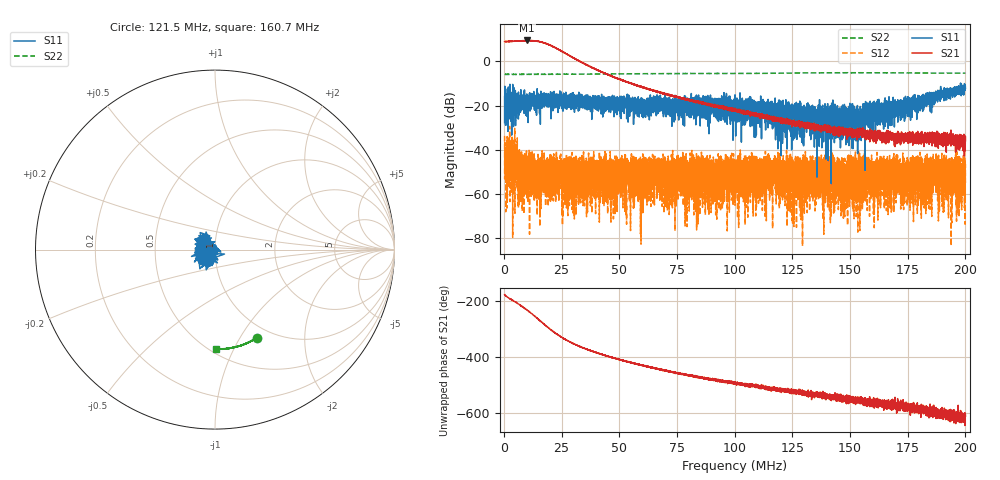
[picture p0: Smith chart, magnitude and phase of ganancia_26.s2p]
# Hz S DB R 50
! CMT, M5065, 19127446, 24.2.4/2
! Date: 11/8/2024 4:00:16 PM
! Data: Format (Calibration Info)
! Freq	S11:dB/Ang(F2)	S21:dB/Ang(F2)	S12:dB/Ang(F2)	S22:dB/Ang(F2)
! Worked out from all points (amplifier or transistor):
!   9000 points, 300 kHz to 200 MHz, reference 50 ohm
!   highest |S21| = 9.5 dB at 10.02 MHz (marker M1)
!   |S21| within 3 dB of that: start of sweep to 21.69 MHz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
!   unconditionally stable (mu >= 1): start of sweep to end of sweep
!   at 33.59 MHz: K = 103.39, MAG = 1.1 dB, |S12| = -48.8 dB
!   at 100.2 MHz: K = 8104.59, MAG = -20.5 dB, |S12| = -65.1 dB
!   at 200 MHz: K = 4335.37, MAG = -34.1 dB, |S12| = -46.4 dB
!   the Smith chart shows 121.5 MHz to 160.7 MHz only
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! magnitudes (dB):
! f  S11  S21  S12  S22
! 300 kHz  -27.7  9.0  -33.7  -5.8
! 1.476 MHz  -15.3  9.1  -62.8  -5.8
! 5.182 MHz  -14.4  9.2  -44.9  -5.9
! 7.202 MHz  -17.9  9.3  -40.6  -5.9
! 10.02 MHz  -15.5  9.5  -52.6  -5.8
! 18.83 MHz  -16.0  7.9  -49.0  -5.8
! 24.13 MHz  -19.7  5.2  -48.8  -5.8
! 33.59 MHz  -18.3  -0.3  -48.8  -5.7
! 66.87 MHz  -18.3  -14.0  -59.7  -5.5
! 77.19 MHz  -22.3  -16.7  -44.9  -5.5
! 79.52 MHz  -18.6  -17.3  -57.0  -5.5
! 95.5 MHz  -17.5  -20.8  -58.5  -5.4
! 100.2 MHz  -24.0  -22.0  -65.1  -5.4
! 107.4 MHz  -17.2  -23.9  -41.3  -5.4
! 125.8 MHz  -22.1  -27.9  -52.8  -5.2
! 133.4 MHz  -30.4  -29.8  -49.0  -5.2
! 150.6 MHz  -27.5  -32.0  -58.4  -5.1
! 153.4 MHz  -36.0  -32.4  -62.4  -5.1
! 157.7 MHz  -22.4  -31.1  -50.0  -5.1
! 166.7 MHz  -22.9  -33.1  -57.3  -5.2
! 198 MHz  -12.5  -34.6  -54.9  -5.3
! 200 MHz  -12.2  -35.9  -46.4  -5.3
